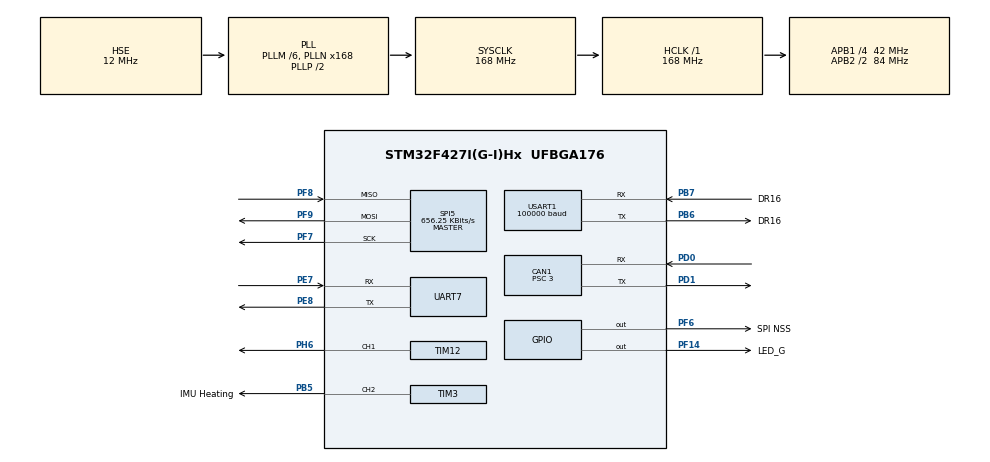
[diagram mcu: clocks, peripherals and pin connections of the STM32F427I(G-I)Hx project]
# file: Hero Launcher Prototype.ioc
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CAN1.ABOM=ENABLE
CAN1.AWUM=ENABLE
CAN1.BS1=CAN_BS1_10TQ
CAN1.BS2=CAN_BS2_3TQ
CAN1.CalculateBaudRate=1000000
CAN1.CalculateTimeBit=1000
CAN1.CalculateTimeQuantum=71.42857142857143
CAN1.NART=ENABLE
CAN1.Prescaler=3
Dma.Request0=USART1_RX
Dma.USART1_RX.0.Direction=DMA_PERIPH_TO_MEMORY
Dma.USART1_RX.0.FIFOMode=DMA_FIFOMODE_DISABLE
Dma.USART1_RX.0.Instance=DMA2_Stream2
Dma.USART1_RX.0.MemDataAlignment=DMA_MDATAALIGN_BYTE
Dma.USART1_RX.0.MemInc=DMA_MINC_ENABLE
Dma.USART1_RX.0.Mode=DMA_CIRCULAR
Dma.USART1_RX.0.PeriphDataAlignment=DMA_PDATAALIGN_BYTE
Dma.USART1_RX.0.PeriphInc=DMA_PINC_DISABLE
Dma.USART1_RX.0.Priority=DMA_PRIORITY_LOW
FREERTOS.INCLUDE_vTaskDelayUntil=1
FREERTOS.Queues01=CAN1_Receive,32,CAN_Export_Data_t,0,Dynamic,NULL,NULL;CAN_Send,32,CAN_Send_Data_t,0,Dynamic,NULL,NULL
FREERTOS.Tasks01=Task_IMU,0,384,StartIMUTask,Default,NULL,Dynamic,NULL,NULL;Task_Init,2,128,General_Init,Default,NULL,Dynamic,NULL,NULL;Task_Robot_Ctrl,3,640,Robot_Control,Default,NULL,Dynamic,NULL,NULL;Task_Serial,2,128,Serial_Send,Default,NULL,Dynamic,NULL,NULL;Task_CAN_Send,2,256,CAN_Send_ALL,Default,NULL,Dynamic,NULL,NULL;Task_CAN1_Rec,2,256,CAN1_Rec,Default,NULL,Dynamic,NULL,NULL
Mcu.Family=STM32F4
Mcu.Name=STM32F427I(G-I)Hx
Mcu.Package=UFBGA176
NVIC.CAN1_RX0_IRQn=true\:5\:0\:false\:false\:true\:false\:true\:false\:true
NVIC.DMA2_Stream2_IRQn=true\:0\:0\:true\:false\:true\:false\:false\:false\:true
NVIC.PriorityGroup=NVIC_PRIORITYGROUP_4
NVIC.TIM6_DAC_IRQn=true\:15\:0\:true\:false\:true\:false\:false\:true\:true
NVIC.TimeBase=TIM6_DAC_IRQn
NVIC.TimeBaseIP=TIM6
NVIC.USART1_IRQn=true\:5\:0\:true\:false\:true\:true\:true\:false\:true
PA13.Mode=Serial_Wire
PA13.Signal=SYS_JTMS-SWDIO
PA14.Mode=Serial_Wire
PA14.Signal=SYS_JTCK-SWCLK
PB5.GPIO_Label=IMU Heating
PB5.Signal=S_TIM3_CH2
PB6.GPIO_Label=DR16
PB6.GPIO_PuPd=GPIO_PULLUP
PB6.Mode=Asynchronous
PB6.Signal=USART1_TX
PB7.GPIO_Label=DR16
PB7.GPIO_PuPd=GPIO_PULLUP
PB7.Mode=Asynchronous
PB7.Signal=USART1_RX
PD0.Mode=CAN_Activate
PD0.Signal=CAN1_RX
PD1.Mode=CAN_Activate
PD1.Signal=CAN1_TX
PE7.Mode=Asynchronous
PE7.Signal=UART7_RX
PE8.Mode=Asynchronous
PE8.Signal=UART7_TX
PF14.GPIO_Label=LED_G
PF14.GPIO_PuPd=GPIO_NOPULL
PF14.PinState=GPIO_PIN_RESET
PF14.Signal=GPIO_Output
PF6.GPIO_Label=SPI NSS
PF6.GPIO_PuPd=GPIO_PULLUP
PF6.GPIO_Speed=GPIO_SPEED_FREQ_LOW
PF6.Signal=GPIO_Output
PF7.Mode=Full_Duplex_Master
PF7.Signal=SPI5_SCK
PF8.Mode=Full_Duplex_Master
PF8.Signal=SPI5_MISO
PF9.Mode=Full_Duplex_Master
PF9.Signal=SPI5_MOSI
PH0/OSC_IN.Mode=HSE-External-Oscillator
PH0/OSC_IN.Signal=RCC_OSC_IN
PH1/OSC_OUT.Mode=HSE-External-Oscillator
PH1/OSC_OUT.Signal=RCC_OSC_OUT
PH6.Signal=S_TIM12_CH1
ProjectManager.HeapSize=0x200
ProjectManager.StackSize=0x400
ProjectManager.TargetToolchain=MDK-ARM V5.32
RCC.48MHZClocksFreq_Value=84000000
RCC.AHBFreq_Value=168000000
RCC.APB1CLKDivider=RCC_HCLK_DIV4
RCC.APB1Freq_Value=42000000
RCC.APB1TimFreq_Value=84000000
RCC.APB2CLKDivider=RCC_HCLK_DIV2
RCC.APB2Freq_Value=84000000
RCC.APB2TimFreq_Value=168000000
RCC.CortexFreq_Value=168000000
RCC.HCLKFreq_Value=168000000
RCC.HSE_VALUE=12000000
RCC.HSI_VALUE=16000000
RCC.LSE_VALUE=32768
RCC.PLLM=6
RCC.PLLN=168
RCC.PLLSourceVirtual=RCC_PLLSOURCE_HSE
RCC.SYSCLKFreq_VALUE=168000000
RCC.SYSCLKSource=RCC_SYSCLKSOURCE_PLLCLK
RCC.VCOOutputFreq_Value=336000000
SH.S_TIM12_CH1.0=TIM12_CH1,PWM Generation1 CH1
SH.S_TIM3_CH2.0=TIM3_CH2,PWM Generation2 CH2
SPI5.BaudRatePrescaler=SPI_BAUDRATEPRESCALER_128
SPI5.CalculateBaudRate=656.25 KBits/s
SPI5.Direction=SPI_DIRECTION_2LINES
SPI5.Mode=SPI_MODE_MASTER
SPI5.VirtualType=VM_MASTER
TIM12.Channel-PWM\ Generation1\ CH1=TIM_CHANNEL_1
TIM12.Period=0
TIM12.Prescaler=45
TIM3.Channel-PWM\ Generation2\ CH2=TIM_CHANNEL_2
TIM3.Period=4999
UART7.VirtualMode=Asynchronous
USART1.BaudRate=100000
USART1.VirtualMode=VM_ASYNC
VP_FREERTOS_VS_CMSIS_V1.Mode=CMSIS_V1
VP_SYS_VS_tim6.Mode=TIM6
VP_TIM3_VS_ClockSourceINT.Mode=Internal
board=custom

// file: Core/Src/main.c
/* USER CODE BEGIN Header */
/**
  ******************************************************************************
  * @file           : main.c
  * @brief          : Main program body
  ******************************************************************************
  * @attention
  *
  * Copyright (c) 2024 STMicroelectronics.
  * All rights reserved.
  *
  * This software is licensed under terms that can be found in the LICENSE file
  * in the root directory of this software component.
  * If no LICENSE file comes with this software, it is provided AS-IS.
  *
  ******************************************************************************
  */
/* USER CODE END Header */
#include "main.h"
#include "cmsis_os.h"
#include "can.h"
#include "dma.h"
#include "spi.h"
#include "tim.h"
#include "usart.h"
#include "gpio.h"

void SystemClock_Config(void);
void MX_FREERTOS_Init(void);

int main(void)
{

  /* MCU Configuration--------------------------------------------------------*/

  /* Reset of all peripherals, Initializes the Flash interface and the Systick. */
  HAL_Init();

  /* Configure the system clock */
  SystemClock_Config();

  /* Initialize all configured peripherals */
  MX_GPIO_Init();
  MX_DMA_Init();
  MX_TIM3_Init();
  MX_USART1_UART_Init();
  MX_SPI5_Init();
  MX_UART7_Init();
  MX_TIM12_Init();
  MX_CAN1_Init();

  /* Call init function for freertos objects (in freertos.c) */
  MX_FREERTOS_Init();

  /* Start scheduler */
  osKernelStart();

  /* We should never get here as control is now taken by the scheduler */
  /* Infinite loop */
  while (1)
  {

  }
}

void SystemClock_Config(void)
{
  RCC_OscInitTypeDef RCC_OscInitStruct = {0};
  RCC_ClkInitTypeDef RCC_ClkInitStruct = {0};

  /** Configure the main internal regulator output voltage
  */
  __HAL_RCC_PWR_CLK_ENABLE();
  __HAL_PWR_VOLTAGESCALING_CONFIG(PWR_REGULATOR_VOLTAGE_SCALE1);

  /** Initializes the RCC Oscillators according to the specified parameters
  * in the RCC_OscInitTypeDef structure.
  */
  RCC_OscInitStruct.OscillatorType = RCC_OSCILLATORTYPE_HSE;
  RCC_OscInitStruct.HSEState = RCC_HSE_ON;
  RCC_OscInitStruct.PLL.PLLState = RCC_PLL_ON;
  RCC_OscInitStruct.PLL.PLLSource = RCC_PLLSOURCE_HSE;
  RCC_OscInitStruct.PLL.PLLM = 6;
  RCC_OscInitStruct.PLL.PLLN = 168;
  RCC_OscInitStruct.PLL.PLLP = RCC_PLLP_DIV2;
  RCC_OscInitStruct.PLL.PLLQ = 4;
  if (HAL_RCC_OscConfig(&RCC_OscInitStruct) != HAL_OK)
  {
    Error_Handler();
  }

  /** Initializes the CPU, AHB and APB buses clocks
  */
  RCC_ClkInitStruct.ClockType = RCC_CLOCKTYPE_HCLK|RCC_CLOCKTYPE_SYSCLK
                              |RCC_CLOCKTYPE_PCLK1|RCC_CLOCKTYPE_PCLK2;
  RCC_ClkInitStruct.SYSCLKSource = RCC_SYSCLKSOURCE_PLLCLK;
  RCC_ClkInitStruct.AHBCLKDivider = RCC_SYSCLK_DIV1;
  RCC_ClkInitStruct.APB1CLKDivider = RCC_HCLK_DIV4;
  RCC_ClkInitStruct.APB2CLKDivider = RCC_HCLK_DIV2;

  if (HAL_RCC_ClockConfig(&RCC_ClkInitStruct, FLASH_LATENCY_5) != HAL_OK)
  {
    Error_Handler();
  }
}

void HAL_TIM_PeriodElapsedCallback(TIM_HandleTypeDef *htim)
{
  if (htim->Instance == TIM6) {
    HAL_IncTick();
  }
}

void Error_Handler(void)
{
  __disable_irq();
  while (1)
  {
  }
}

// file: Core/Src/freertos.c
/* USER CODE BEGIN Header */
/**
  ******************************************************************************
  * File Name          : freertos.c
  * Description        : Code for freertos applications
  ******************************************************************************
  * @attention
  *
  * Copyright (c) 2024 STMicroelectronics.
  * All rights reserved.
  *
  * This software is licensed under terms that can be found in the LICENSE file
  * in the root directory of this software component.
  * If no LICENSE file comes with this software, it is provided AS-IS.
  *
  ******************************************************************************
  */
/* USER CODE END Header */

#include "FreeRTOS.h"
#include "task.h"
#include "main.h"
#include "cmsis_os.h"

/* USER CODE BEGIN Includes */
#include "Board_A_IMU.h"
#include "IMU_Temp_Control.h"
#include "DR16_Remote.h"
#include "M3508_Motor.h"
#include "Robot_Control.h"
#include "Fusion.h"
#include "Buzzer.h"
#include "Serial.h"
/* USER CODE END Includes */

osThreadId Task_IMUHandle;
osThreadId Task_InitHandle;
osThreadId Task_Robot_CtrlHandle;
osThreadId Task_SerialHandle;
osThreadId Task_CAN_SendHandle;
osThreadId Task_CAN1_RecHandle;
osMessageQId CAN1_ReceiveHandle;
osMessageQId CAN_SendHandle;

void StartIMUTask(void const * argument);
void General_Init(void const * argument);
void Robot_Control(void const * argument);
void Serial_Send(void const * argument);
void CAN_Send_ALL(void const * argument);
void CAN1_Rec(void const * argument);

void MX_FREERTOS_Init(void); /* (MISRA C 2004 rule 8.1) */

/* GetIdleTaskMemory prototype (linked to static allocation support) */
void vApplicationGetIdleTaskMemory( StaticTask_t **ppxIdleTaskTCBBuffer, StackType_t **ppxIdleTaskStackBuffer, uint32_t *pulIdleTaskStackSize );

/* USER CODE BEGIN GET_IDLE_TASK_MEMORY */
static StaticTask_t xIdleTaskTCBBuffer;
static StackType_t xIdleStack[configMINIMAL_STACK_SIZE];

void vApplicationGetIdleTaskMemory( StaticTask_t **ppxIdleTaskTCBBuffer, StackType_t **ppxIdleTaskStackBuffer, uint32_t *pulIdleTaskStackSize )
{
  *ppxIdleTaskTCBBuffer = &xIdleTaskTCBBuffer;
  *ppxIdleTaskStackBuffer = &xIdleStack[0];
  *pulIdleTaskStackSize = configMINIMAL_STACK_SIZE;
  /* place for user code */
}
/* USER CODE END GET_IDLE_TASK_MEMORY */

void MX_FREERTOS_Init(void) {

  /* Create the queue(s) */
  /* definition and creation of CAN1_Receive */
  osMessageQDef(CAN1_Receive, 32, CAN_Export_Data_t);
  CAN1_ReceiveHandle = osMessageCreate(osMessageQ(CAN1_Receive), NULL);

  /* definition and creation of CAN_Send */
  osMessageQDef(CAN_Send, 32, CAN_Send_Data_t);
  CAN_SendHandle = osMessageCreate(osMessageQ(CAN_Send), NULL);

  /* Create the thread(s) */
  /* definition and creation of Task_IMU */
  osThreadDef(Task_IMU, StartIMUTask, osPriorityNormal, 0, 384);
  Task_IMUHandle = osThreadCreate(osThread(Task_IMU), NULL);

  /* definition and creation of Task_Init */
  osThreadDef(Task_Init, General_Init, osPriorityHigh, 0, 128);
  Task_InitHandle = osThreadCreate(osThread(Task_Init), NULL);

  /* definition and creation of Task_Robot_Ctrl */
  osThreadDef(Task_Robot_Ctrl, Robot_Control, osPriorityRealtime, 0, 640);
  Task_Robot_CtrlHandle = osThreadCreate(osThread(Task_Robot_Ctrl), NULL);

  /* definition and creation of Task_Serial */
  osThreadDef(Task_Serial, Serial_Send, osPriorityHigh, 0, 128);
  Task_SerialHandle = osThreadCreate(osThread(Task_Serial), NULL);

  /* definition and creation of Task_CAN_Send */
  osThreadDef(Task_CAN_Send, CAN_Send_ALL, osPriorityHigh, 0, 256);
  Task_CAN_SendHandle = osThreadCreate(osThread(Task_CAN_Send), NULL);

  /* definition and creation of Task_CAN1_Rec */
  osThreadDef(Task_CAN1_Rec, CAN1_Rec, osPriorityHigh, 0, 256);
  Task_CAN1_RecHandle = osThreadCreate(osThread(Task_CAN1_Rec), NULL);

}

void StartIMUTask(void const * argument)
{
  /* USER CODE BEGIN StartIMUTask */
  portTickType xLastWakeTime;
  xLastWakeTime = xTaskGetTickCount();

  const TickType_t TimeIncrement = pdMS_TO_TICKS(1);
  /* Infinite loop */
  for(;;)
  {
		Board_A_IMU_Func.Board_A_IMU_Read_Data(&Board_A_IMU);
		Board_A_IMU_Func.Board_A_IMU_Calc_Angle(&Board_A_IMU);
		IMU_Temp_Control_Func.Board_A_IMU_Temp_Control();

    vTaskDelayUntil(&xLastWakeTime, TimeIncrement);
  }
}

void General_Init(void const * argument)
{
  /* USER CODE BEGIN General_Init */
  /* Infinite loop */
  Buzzer_Func.Buzzer_Init();
  IMU_Temp_Control_Func.Board_A_IMU_Temp_Control_Init();
	Board_A_IMU_Func.Board_A_IMU_Init();
	FusionAhrsInitialise(&Board_A_IMU_AHRS);
	DR16_Func.DR16_USART_Receive_DMA(&huart1);
	CAN_Func.CAN_IT_Init(&hcan1, CAN1_Type);
	Shooting_Func.Shooting_Init();
	vTaskDelete(NULL);
  /* USER CODE END General_Init */
}

void Robot_Control(void const * argument)
{
  /* USER CODE BEGIN Robot_Control */
  portTickType xLastWakeTime;
  xLastWakeTime = xTaskGetTickCount();
  const TickType_t TimeIncrement = pdMS_TO_TICKS(2);
  /* Infinite loop */
  for(;;)
  {
    Robot_Control_Func.Robot_Control_Start();
		vTaskDelayUntil(&xLastWakeTime, TimeIncrement);
  }
  /* USER CODE END Robot_Control */
}

void Serial_Send(void const * argument)
{
  /* USER CODE BEGIN Serial_Send */
  portTickType xLastWakeTime;
  xLastWakeTime = xTaskGetTickCount();

  const TickType_t TimeIncrement = pdMS_TO_TICKS(10);
  /* Infinite loop */
  for(;;)
  {
    printf("/*%d,%d,%d*/\n",-M3508_Fric_Wheel[0].Actual_Speed,M3508_Fric_Wheel[1].Actual_Speed,M3508_Fric_Wheel[2].Actual_Speed);
		vTaskDelayUntil(&xLastWakeTime, TimeIncrement);
  }
  /* USER CODE END Serial_Send */
}

void CAN_Send_ALL(void const * argument)
{
  /* USER CODE BEGIN CAN_Send_ALL */
  CAN_Send_Data_t CAN_Send_Data;
  /* Infinite loop */
  for(;;)
  {
    xQueueReceive(CAN_SendHandle, &CAN_Send_Data, portMAX_DELAY);
    HAL_CAN_AddTxMessage(CAN_Send_Data.Canx, &CAN_Send_Data.CAN_TxHeader, CAN_Send_Data.CANx_Send_RxMessage, (uint32_t *)CAN_TX_MAILBOX0);
  }
  /* USER CODE END CAN_Send_ALL */
}

void CAN1_Rec(void const * argument)
{
  /* USER CODE BEGIN CAN1_Rec */
  CAN_Export_Data_t CAN_Export_Data;
	uint32_t ID;
  /* Infinite loop */
  for(;;)
  {
    xQueueReceive(CAN1_ReceiveHandle, &CAN_Export_Data, portMAX_DELAY);
		ID = CAN_Export_Data.CAN_RxHeader.StdId;
		if(ID == M3508_FRIC_WHEEL_LEFT_ID || ID == M3508_FRIC_WHEEL_RIGHT_ID || ID == M3508_FRIC_WHEEL_BOTTOM_ID)
			M3508_Func.M3508_Fric_Wheel_Get_Data(CAN_Export_Data);
		Monitor_CAN1.Info_Update_Frame++;
  }
  /* USER CODE END CAN1_Rec */
}
